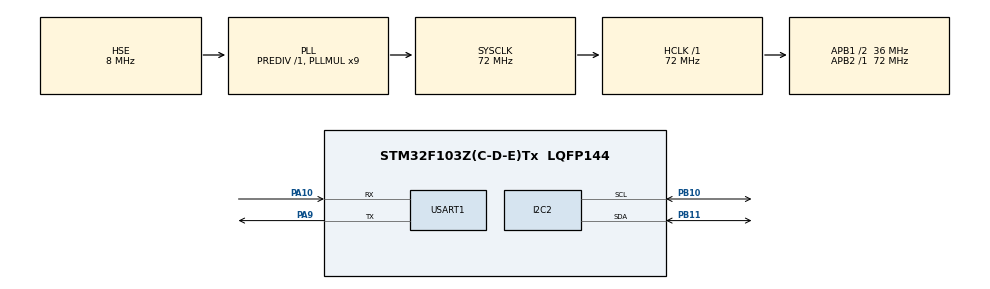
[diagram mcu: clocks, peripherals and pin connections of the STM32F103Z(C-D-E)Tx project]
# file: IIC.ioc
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Mcu.Family=STM32F1
Mcu.Name=STM32F103Z(C-D-E)Tx
Mcu.Package=LQFP144
NVIC.PriorityGroup=NVIC_PRIORITYGROUP_4
NVIC.USART1_IRQn=true\:0\:0\:false\:false\:true\:true\:true
OSC_IN.Mode=HSE-External-Oscillator
OSC_IN.Signal=RCC_OSC_IN
OSC_OUT.Mode=HSE-External-Oscillator
OSC_OUT.Signal=RCC_OSC_OUT
PA10.Mode=Asynchronous
PA10.Signal=USART1_RX
PA13.Mode=Serial_Wire
PA13.Signal=SYS_JTMS-SWDIO
PA14.Mode=Serial_Wire
PA14.Signal=SYS_JTCK-SWCLK
PA9.Mode=Asynchronous
PA9.Signal=USART1_TX
PB10.Mode=I2C
PB10.Signal=I2C2_SCL
PB11.Mode=I2C
PB11.Signal=I2C2_SDA
PC14-OSC32_IN.Mode=LSE-External-Oscillator
PC14-OSC32_IN.Signal=RCC_OSC32_IN
PC15-OSC32_OUT.Mode=LSE-External-Oscillator
PC15-OSC32_OUT.Signal=RCC_OSC32_OUT
ProjectManager.HeapSize=0x200
ProjectManager.StackSize=0x400
ProjectManager.TargetToolchain=MDK-ARM V5.27
RCC.AHBFreq_Value=72000000
RCC.APB1CLKDivider=RCC_HCLK_DIV2
RCC.APB1Freq_Value=36000000
RCC.APB1TimFreq_Value=72000000
RCC.APB2Freq_Value=72000000
RCC.APB2TimFreq_Value=72000000
RCC.HCLKFreq_Value=72000000
RCC.PLLMUL=RCC_PLL_MUL9
RCC.PLLSourceVirtual=RCC_PLLSOURCE_HSE
RCC.SYSCLKFreq_VALUE=72000000
RCC.SYSCLKSource=RCC_SYSCLKSOURCE_PLLCLK
RCC.USBFreq_Value=72000000
USART1.VirtualMode=VM_ASYNC
board=custom

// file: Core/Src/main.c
/* USER CODE BEGIN Header */
/**
  ******************************************************************************
  * @file           : main.c
  * @brief          : Main program body
  ******************************************************************************
  * @attention
  *
  * <h2><center>&copy; Copyright (c) 2020 STMicroelectronics.
  * All rights reserved.</center></h2>
  *
  * This software component is licensed by ST under BSD 3-Clause license,
  * the "License"; You may not use this file except in compliance with the
  * License. You may obtain a copy of the License at:
  *                        opensource.org/licenses/BSD-3-Clause
  *
  ******************************************************************************
  */
/* USER CODE END Header */
#include "main.h"
#include "i2c.h"
#include "usart.h"
#include "gpio.h"

/* USER CODE BEGIN Includes */

#include "stdio.h"
#include "string.h"

/* USER CODE END Includes */

void SystemClock_Config(void);

/* USER CODE BEGIN 0 */

#define ADDR_24LC04_Write 0xa0
#define ADDR_24LC04_Read 0xa1
#define BufferSize 256
uint8_t WriteBuffer[BufferSize],ReadBuffer[BufferSize];
uint16_t i;

/* USER CODE END 0 */

int main(void)
{
  /* USER CODE BEGIN 1 */
	int j=1;
  /* USER CODE END 1 */

  /* MCU Configuration--------------------------------------------------------*/

  /* Reset of all peripherals, Initializes the Flash interface and the Systick. */
  HAL_Init();

  /* Configure the system clock */
  SystemClock_Config();

  /* Initialize all configured peripherals */
  MX_GPIO_Init();
  MX_USART1_UART_Init();
  MX_I2C2_Init();
  /* USER CODE BEGIN 2 */

	  /* USER CODE BEGIN 2 */

  /* USER CODE END 2 */

  /* Infinite loop */
  /* USER CODE BEGIN WHILE */
  while (1)
  {

		printf("\r\n/*******************第%d次I2C测试开始***********************/\r\n",j);

	  for(i=0;i<256;i++)
			WriteBuffer[i]=i;

		for(i=0;i<32;i++)
		{
			if(HAL_I2C_Mem_Write(&hi2c2,ADDR_24LC04_Write,8*i,I2C_MEMADD_SIZE_8BIT,WriteBuffer+8*i,8,1000)==0)
			{
				printf("\r\nI2c communication success\r\n");
				HAL_Delay(20);
			}
			else
			{
				printf("\r\nI2c communication failure\r\n");
				HAL_Delay(20);
			}
		}

		HAL_I2C_Mem_Read(&hi2c2,ADDR_24LC04_Read,0,I2C_MEMADD_SIZE_8BIT,ReadBuffer,BufferSize,0xff);

		for(i=0;i<256;i++)
		printf("0x%02x  ",ReadBuffer[i]);

		if(memcmp(WriteBuffer,ReadBuffer,BufferSize)==0)
			printf("\r\nEEPROM with I2C communication is complete\r\n");
			else
				printf("\r\nEEPROM with I2C communication failure\r\n");
		printf("\r\n/*******************第%d次I2C测试结束***********************/\r\n",j);

		j++;
		HAL_Delay(10000);
    /* USER CODE END WHILE */

  }
}

void SystemClock_Config(void)
{
  RCC_OscInitTypeDef RCC_OscInitStruct = {0};
  RCC_ClkInitTypeDef RCC_ClkInitStruct = {0};

  /** Initializes the RCC Oscillators according to the specified parameters
  * in the RCC_OscInitTypeDef structure.
  */
  RCC_OscInitStruct.OscillatorType = RCC_OSCILLATORTYPE_HSE;
  RCC_OscInitStruct.HSEState = RCC_HSE_ON;
  RCC_OscInitStruct.HSEPredivValue = RCC_HSE_PREDIV_DIV1;
  RCC_OscInitStruct.HSIState = RCC_HSI_ON;
  RCC_OscInitStruct.PLL.PLLState = RCC_PLL_ON;
  RCC_OscInitStruct.PLL.PLLSource = RCC_PLLSOURCE_HSE;
  RCC_OscInitStruct.PLL.PLLMUL = RCC_PLL_MUL9;
  if (HAL_RCC_OscConfig(&RCC_OscInitStruct) != HAL_OK)
  {
    Error_Handler();
  }
  /** Initializes the CPU, AHB and APB buses clocks
  */
  RCC_ClkInitStruct.ClockType = RCC_CLOCKTYPE_HCLK|RCC_CLOCKTYPE_SYSCLK
                              |RCC_CLOCKTYPE_PCLK1|RCC_CLOCKTYPE_PCLK2;
  RCC_ClkInitStruct.SYSCLKSource = RCC_SYSCLKSOURCE_PLLCLK;
  RCC_ClkInitStruct.AHBCLKDivider = RCC_SYSCLK_DIV1;
  RCC_ClkInitStruct.APB1CLKDivider = RCC_HCLK_DIV2;
  RCC_ClkInitStruct.APB2CLKDivider = RCC_HCLK_DIV1;

  if (HAL_RCC_ClockConfig(&RCC_ClkInitStruct, FLASH_LATENCY_2) != HAL_OK)
  {
    Error_Handler();
  }
}

void Error_Handler(void)
{
}

/************************ (C) COPYRIGHT STMicroelectronics *****END OF FILE****/
